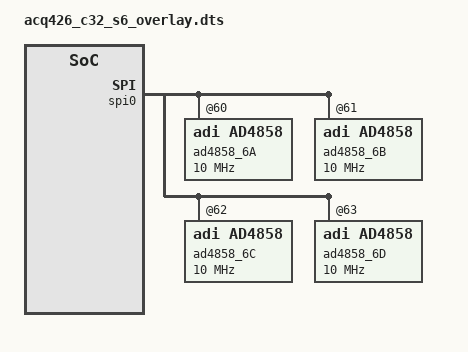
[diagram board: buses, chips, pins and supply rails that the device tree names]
// SPDX-License-Identifier: GPL-2.0
/dts-v1/;
/plugin/;	/* allow undefined label references and record them */

/ {
	fragment@0 {
		target = <&spi0>;
		__overlay__ {
			#address-cells = <1>;
			#size-cells = <0>;			
			status = "okay";

			ad4858_6A: adc@60{		
/*                
                refin-supply = <&refin>;
                clocks = <&ref_clk>;
                clock-names = "scki";
                dmas = <&rx_dma 0>;
                dma-names = "rx";
                pwms = <&axi_pwm_gen 0 0>;
                pwm-names = "cnv";
*/
				reg = <0x60>;
				spi-max-frequency = <10000000>;
				compatible = "adi,ad4858";
			};
			ad4858_6B: adc@61{
				reg = <0x61>;

				spi-max-frequency = <10000000>;
				compatible = "adi,ad4858";
			};
			ad4858_6C: adc@62{
				reg = <0x62>;

				spi-max-frequency = <10000000>;
				compatible = "adi,ad4858";
			};
			ad4858_6D: adc@63{
				reg = <0x63>;

				spi-max-frequency = <10000000>;
				compatible = "adi,ad4858";
			};			
			ad4858_6X: adc@6f{
				reg = <0x6F>;

				spi-max-frequency = <10000000>;
				compatible = "adi,ad4858";
				status = "disabled";
			};
		};
	};
};
